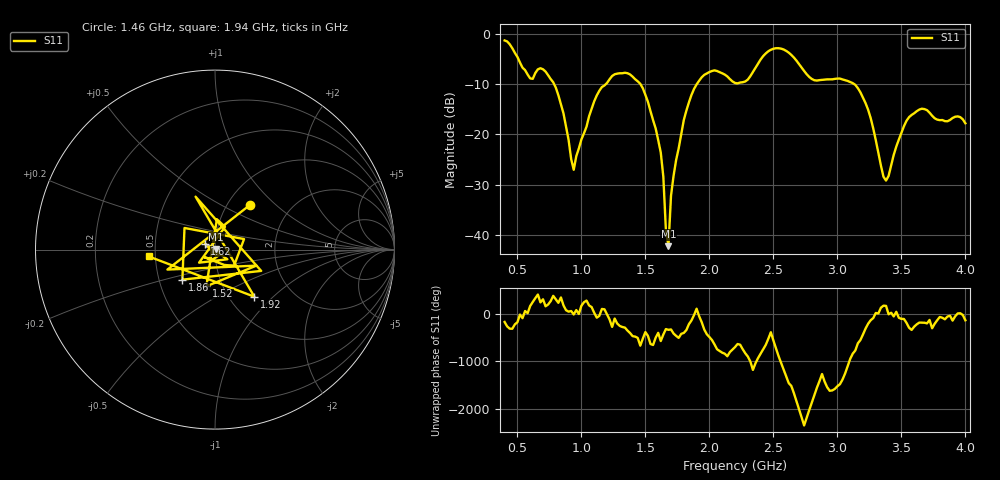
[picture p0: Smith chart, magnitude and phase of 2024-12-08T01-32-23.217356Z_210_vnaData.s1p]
!Created with skrf (http://scikit-rf.org).
# Hz S RI R 50.0
!freq ReS11 ImS11
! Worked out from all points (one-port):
!   181 points, 400 MHz to 4 GHz, reference 50 ohm
!   lowest |S11| = -42.3 dB at 1.68 GHz (marker M1), VSWR 1.02, Z = 50.7 + j0.333 ohm
!   |S11| at or under -10 dB: 786.9 MHz to 1.191 GHz (403.8 MHz wide, 40.8 % of centre); 1.461 GHz to 1.901 GHz (440.1 MHz wide, 26.2 % of centre); 3.132 GHz to end of sweep
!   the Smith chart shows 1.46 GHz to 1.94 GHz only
!   S11 on the Smith chart (normalised r, x): 1.46 GHz: 1.27, +0.71; 1.52 GHz: 0.84, -0.36; 1.62 GHz: 0.89, +0.06; 1.86 GHz: 0.66, -0.23; 1.92 GHz: 1.30, -0.77; 1.94 GHz: 0.46, -0.04
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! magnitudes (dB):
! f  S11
! 400 MHz  -1.3
! 600 MHz  -8.9
! 720 MHz  -7.5
! 860 MHz  -15.8
! 940 MHz  -27.0
! 1.12 GHz  -12.3
! 1.3 GHz  -7.8
! 1.46 GHz  -9.9
! 1.52 GHz  -13.5
! 1.62 GHz  -23.6
! 1.64 GHz  -28.4
! 1.66 GHz  -39.0
! 1.68 GHz  -42.3
! 1.7 GHz  -32.2
! 1.76 GHz  -22.8
! 1.86 GHz  -12.1
! 1.92 GHz  -9.3
! 1.94 GHz  -8.6
! 2.2 GHz  -9.8
! 2.48 GHz  -3.2
! 2.66 GHz  -4.7
! 2.82 GHz  -9.2
! 3.1 GHz  -9.6
! 3.24 GHz  -15.1
! 3.38 GHz  -29.2
! 3.56 GHz  -16.6
! 3.66 GHz  -14.9
! 4 GHz  -17.8
